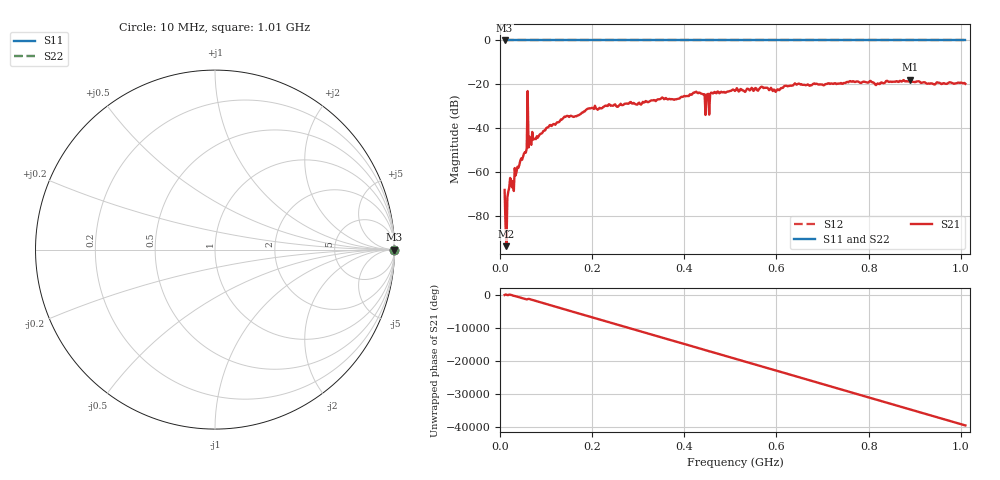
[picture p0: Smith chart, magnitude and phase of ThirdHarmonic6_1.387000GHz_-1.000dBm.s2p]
! 8/16/2025 3:47:39 PM
! C:\ANRITSUVNA\TEMP\TEMP.S2P
! CHANNEL.1
! TR.MEASUREMENT
! RAW.DATA
! RF.CORRECTION.OFF
! AVERAGING.OFF
! IF.BANDWIDTH: 5KHZ
! SWEEPTYPE:  FREQ.SWEEP(Linear)
! Reference Plane Port Info
! PORT:  PORT1  PORT2
! DISTANCE:  0  m  0  m
! TIME:  0  s  0  s
! PHASE.OFFSET:  0  deg.  0  deg.
! LOSS:  0  dB  0  dB
! REF.LOSS:  0  dB  0  dB
! REF.FREQ:  0  Hz  0  Hz
! Power Info
! POWER:  -20  dBm  -20  dBm
! EFF.POWER:  -20  dBm  -20  dBm
! SOURCE.ATTEN:  0  dB  0  dB
! TEST.ATTEN:  0  dB  0  dB
# GHZ S RI R 50.0
! FREQ.GHZ  S11RE  S11IM  S21RE  S21IM  S12RE  S12IM  S22RE  S22IM
!; PortSelection: Port_12
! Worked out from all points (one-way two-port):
!   501 points, 10 MHz to 1.01 GHz, reference 50 ohm
!   highest |S21| = -17.90 dB at 890 MHz (marker M1); lowest = -93.7 dB at 14 MHz (marker M2)
!   lowest |S11| = 0.0 dB at 10 MHz (marker M3)
!   |S11| at or under -10 dB: nowhere
!   |S22| runs from 0.0 to 0.0 dB; largest |S21 - S12| = 1.1
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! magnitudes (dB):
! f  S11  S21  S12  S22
! 10 MHz  0.0  -68.1  0.0  0.0
! 14 MHz  0.0  -93.7  0.0  0.0
! 16 MHz  0.0  -71.5  0.0  0.0
! 20 MHz  0.0  -67.1  0.0  0.0
! 30 MHz  0.0  -68.6  0.0  0.0
! 54 MHz  0.0  -50.9  0.0  0.0
! 56 MHz  0.0  -51.1  0.0  0.0
! 62 MHz  0.0  -48.8  0.0  0.0
! 64 MHz  0.0  -43.9  0.0  0.0
! 66 MHz  0.0  -46.7  0.0  0.0
! 142 MHz  0.0  -34.8  0.0  0.0
! 178 MHz  0.0  -32.9  0.0  0.0
! 344 MHz  0.0  -26.8  0.0  0.0
! 428 MHz  0.0  -23.8  0.0  0.0
! 440 MHz  0.0  -24.5  0.0  0.0
! 450 MHz  0.0  -24.5  0.0  0.0
! 462 MHz  0.0  -24.2  0.0  0.0
! 510 MHz  0.0  -23.0  0.0  0.0
! 678 MHz  0.0  -20.1  0.0  0.0
! 844 MHz  0.0  -18.9  0.0  0.0
! 890 MHz  0.0  -17.9  0.0  0.0
! 1.01 GHz  0.0  -19.8  0.0  0.0
